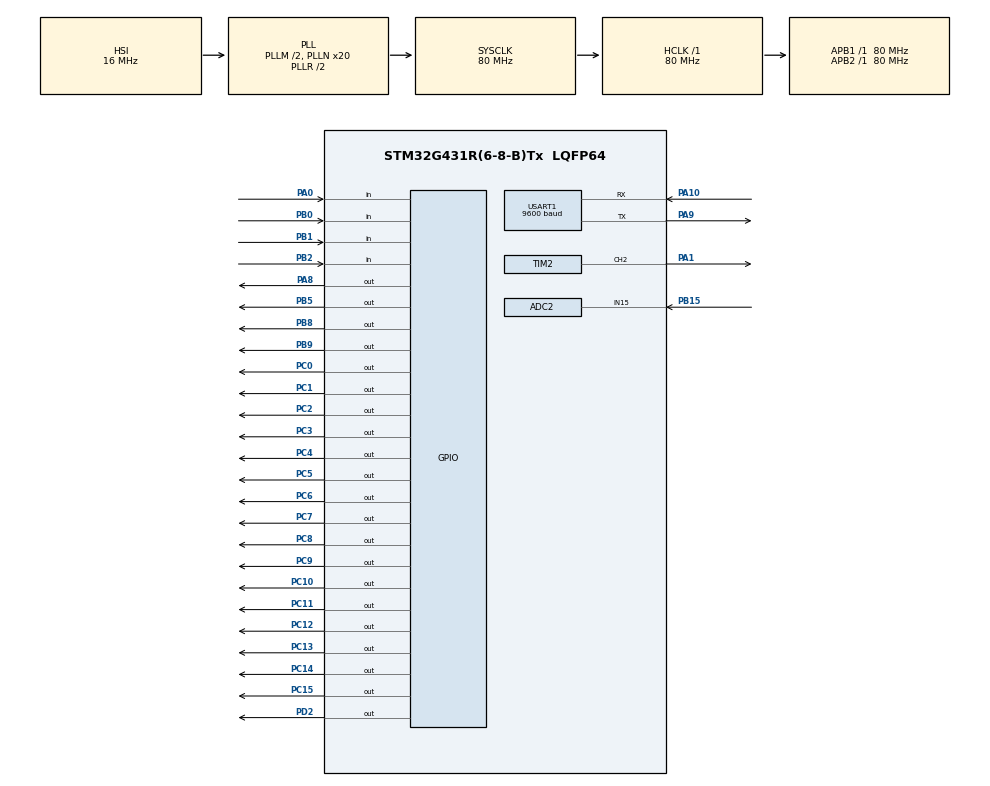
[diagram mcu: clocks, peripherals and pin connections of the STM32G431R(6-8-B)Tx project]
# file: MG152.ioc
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ADC2.Channel-0\#ChannelRegularConversion=ADC_CHANNEL_15
ADC2.NbrOfConversionFlag=1
ADC2.OffsetNumber-0\#ChannelRegularConversion=ADC_OFFSET_NONE
ADC2.Rank-0\#ChannelRegularConversion=1
ADC2.SamplingTime-0\#ChannelRegularConversion=ADC_SAMPLETIME_640CYCLES_5
Mcu.Family=STM32G4
Mcu.Name=STM32G431R(6-8-B)Tx
Mcu.Package=LQFP64
NVIC.PriorityGroup=NVIC_PRIORITYGROUP_4
NVIC.TIM1_BRK_TIM15_IRQn=true\:0\:0\:false\:false\:true\:true\:true\:true
NVIC.USART1_IRQn=true\:0\:0\:false\:false\:true\:true\:true\:true
PA0.Signal=GPIO_Input
PA1.Signal=S_TIM2_CH2
PA10.Mode=Asynchronous
PA10.Signal=USART1_RX
PA8.Signal=GPIO_Output
PA9.Mode=Asynchronous
PA9.Signal=USART1_TX
PB0.Signal=GPIO_Input
PB1.Signal=GPIO_Input
PB15.Mode=IN15-Single-Ended
PB15.Signal=ADC2_IN15
PB2.Signal=GPIO_Input
PB5.Signal=GPIO_Output
PB8-BOOT0.Signal=GPIO_Output
PB9.Signal=GPIO_Output
PC0.Signal=GPIO_Output
PC1.Signal=GPIO_Output
PC10.Signal=GPIO_Output
PC11.Signal=GPIO_Output
PC12.Signal=GPIO_Output
PC13.Signal=GPIO_Output
PC14-OSC32_IN.Signal=GPIO_Output
PC15-OSC32_OUT.Signal=GPIO_Output
PC2.Signal=GPIO_Output
PC3.Signal=GPIO_Output
PC4.Signal=GPIO_Output
PC5.Signal=GPIO_Output
PC6.Signal=GPIO_Output
PC7.Signal=GPIO_Output
PC8.Signal=GPIO_Output
PC9.Signal=GPIO_Output
PD2.Signal=GPIO_Output
PF0-OSC_IN.Mode=HSE-External-Oscillator
PF0-OSC_IN.Signal=RCC_OSC_IN
PF1-OSC_OUT.Mode=HSE-External-Oscillator
PF1-OSC_OUT.Signal=RCC_OSC_OUT
ProjectManager.HeapSize=0x200
ProjectManager.StackSize=0x400
ProjectManager.TargetToolchain=MDK-ARM V5
RCC.ADC12Freq_Value=80000000
RCC.AHBFreq_Value=80000000
RCC.APB1Freq_Value=80000000
RCC.APB1TimFreq_Value=80000000
RCC.APB2Freq_Value=80000000
RCC.APB2TimFreq_Value=80000000
RCC.CortexFreq_Value=80000000
RCC.EXTERNAL_CLOCK_VALUE=12288000
RCC.HCLKFreq_Value=80000000
RCC.HSE_VALUE=24000000
RCC.HSI48_VALUE=48000000
RCC.HSI_VALUE=16000000
RCC.LSE_VALUE=32768
RCC.PLLM=RCC_PLLM_DIV2
RCC.PLLN=20
RCC.SYSCLKFreq_VALUE=80000000
RCC.SYSCLKSource=RCC_SYSCLKSOURCE_PLLCLK
RCC.USBFreq_Value=80000000
RCC.VCOOutputFreq_Value=160000000
SH.S_TIM2_CH2.0=TIM2_CH2,PWM Generation2 CH2
TIM15.AutoReloadPreload=TIM_AUTORELOAD_PRELOAD_ENABLE
TIM15.PeriodNoDither=999
TIM15.Prescaler=7999
TIM2.AutoReloadPreload=TIM_AUTORELOAD_PRELOAD_ENABLE
TIM2.Channel-PWM\ Generation2\ CH2=TIM_CHANNEL_2
TIM2.PeriodNoDither=999
TIM2.Prescaler=79
TIM2.PulseNoDither_2=350
USART1.BaudRate=9600
USART1.VirtualMode-Asynchronous=VM_ASYNC
VP_SYS_VS_DBSignals.Mode=DisableDeadBatterySignals
VP_TIM15_VS_ClockSourceINT.Mode=Internal
board=custom

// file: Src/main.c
/* USER CODE BEGIN Header */
/**
  ******************************************************************************
  * @file           : main.c
  * @brief          : Main program body
  ******************************************************************************
  * @attention
  *
  * <h2><center>&copy; Copyright (c) 2021 STMicroelectronics.
  * All rights reserved.</center></h2>
  *
  * This software component is licensed by ST under BSD 3-Clause license,
  * the "License"; You may not use this file except in compliance with the
  * License. You may obtain a copy of the License at:
  *                        opensource.org/licenses/BSD-3-Clause
  *
  ******************************************************************************
  */
/* USER CODE END Header */

#include "main.h"
#include "adc.h"
#include "tim.h"
#include "usart.h"
#include "gpio.h"

/* USER CODE BEGIN Includes */

#include "led.h"
#include "key.h"
#include "stdio.h"
#include "string.h"

/* USER CODE END Includes */

void SystemClock_Config(void);

/* USER CODE BEGIN 0 */

#define Display_DATA 0
#define Display_SLEEPING 1

u8 Display_Mode = 0;

//1
double TEMP = 23.5;

#define Auto 0
#define Manu 1
u8 MODE = 0;

u8 GEAR = 1;

//2

_Bool change_flag = 0; // 变为1切到界面2
u32 tim_cnt = 0;

//led4
u32 uart_cnt = 0;

//LED
u8 led_ctrl = 0;

void Led_Process(void)
{
	if(MODE == Auto)
		led_ctrl |=0x80;
	else
		led_ctrl &= ~0x80;

	if(GEAR == 1)
		led_ctrl |= 0x01;
	else
		led_ctrl &= ~0x01;

	if(GEAR == 2)
		led_ctrl |= 0x02;
	else
		led_ctrl &= ~0x02;

	if(GEAR == 3)
		led_ctrl |= 0x04;
	else
		led_ctrl &= ~0x04;

	Led_Control(led_ctrl);
}

//KEY
uint32_t keyTick = 0;
void Key_Process(void)
{
	if(uwTick - keyTick < 20) return;
	keyTick = uwTick;

	Key_Read();

	if(Trg & 0x01)
	{
		tim_cnt = 0;
		change_flag = 0;

		if(Display_Mode == Display_DATA)
			MODE = (MODE+1)%2;
		if(Display_Mode == Display_SLEEPING)
		{
			LCD_Clear(Black);
			Display_Mode = Display_DATA;
		}
	}

	if(Trg & 0x02)
	{
		tim_cnt = 0;
		change_flag = 0;
		if(Display_Mode == Display_DATA)
		{
			if(MODE == Manu)
			{
				GEAR++;
				if(GEAR == 4)
					GEAR = 3;
			}
		}

		if(Display_Mode == Display_SLEEPING)
		{
			LCD_Clear(Black);
			Display_Mode = Display_DATA;
		}
	}

	if(Trg & 0x04)
	{
		tim_cnt = 0;
		change_flag = 0;
		if(Display_Mode == Display_DATA)
		{
			if(MODE == Manu)
			{
				if(GEAR > 1)
					GEAR--;
			}
		}
		if(Display_Mode == Display_SLEEPING)
		{
			LCD_Clear(Black);
			Display_Mode = Display_DATA;
		}
	}

	if(Trg & 0x08)
	{
		Led_Control(0x08);
	}

}

//ADC
//ADC
u32 adc_val;
double r37_v;
void ADC_Process(void)
{
	HAL_ADC_Start(&hadc2);
	adc_val = HAL_ADC_GetValue(&hadc2);
	r37_v = adc_val/4095.0f * 3.3f;

	if(r37_v > 3)
		TEMP = 40;
	else if(r37_v < 1)
		TEMP = 20;
	else
		TEMP = 10*(r37_v - 1) + 20;

	if(MODE == Auto)
	{
		if(TEMP < 25)
			GEAR = 1;
		else if(TEMP > 30)
			GEAR = 3;
		else
			GEAR = 2;
	}
}

//PWM
void PWM_Process(void)
{
	TIM2->ARR = 499;
	if(GEAR == 1)
		TIM2->CCR1 = (TIM2->ARR + 1)*0.1;
	if(GEAR == 2)
		TIM2->CCR1 = (TIM2->ARR + 1)*0.4;
	if(GEAR == 3)
		TIM2->CCR1 = (TIM2->ARR + 1)*0.8;

}

//串口
//发

int fputc(int ch, FILE *f)
{
  /* Your implementation of fputc(). */
	HAL_UART_Transmit(&huart1,(u8 *)&ch,1,50);
  return ch;
}

//收
u8 uart_buf[2];
u8 rx_buf[100];
u8 rx_cnt = 0;

uint32_t uartTick = 0;
void Rx_Idle(void)
{
	if(uwTick - uartTick < 50) return;
	uartTick = uwTick;

	if(rx_cnt > 0)
	{
		if(rx_cnt != 2)
			printf("NULL\r\n");
		rx_cnt = 0;
		memset(rx_buf,'\0',sizeof(rx_buf));
	}
}

void HAL_UART_RxCpltCallback(UART_HandleTypeDef *huart)
{
	uartTick = uwTick;
	HAL_UART_Receive_IT(&huart1,uart_buf,1);

	rx_buf[rx_cnt++] = uart_buf[0];

	if(rx_cnt == 2)
	{
		if(rx_buf[0] == 'B'&& (rx_buf[1] == '1' ||rx_buf[1] == '2' || rx_buf[1] == '3'))
		{
			led_ctrl |= 0x08;
			uart_cnt = 0;

			if(rx_buf[1] == '1')
			{
					tim_cnt = 0;
					change_flag = 0;

					if(Display_Mode == Display_DATA)
					MODE = (MODE+1)%2;
					if(Display_Mode == Display_SLEEPING)
					{
					LCD_Clear(Black);
					Display_Mode = Display_DATA;
					}
			}

			if(rx_buf[1] == '2')
			{
				tim_cnt = 0;
				change_flag = 0;
				if(Display_Mode == Display_DATA)
				{
				if(MODE == Manu)
				{
				GEAR++;
				if(GEAR == 4)
				GEAR = 3;
				}
				}

				if(Display_Mode == Display_SLEEPING)
				{
				LCD_Clear(Black);
				Display_Mode = Display_DATA;
				}

			}

			if(rx_buf[1] == '3')
			{
				tim_cnt = 0;
				change_flag = 0;
				if(Display_Mode == Display_DATA)
				{
					if(MODE == Manu)
					{
						if(GEAR > 1)
							GEAR--;
					}
				}
				if(Display_Mode == Display_SLEEPING)
				{
					LCD_Clear(Black);
					Display_Mode = Display_DATA;
				}
			}

		}
		else
			printf("NULL\r\n");
	}

}

//LCD
uint32_t lcdTick = 0;
void LCD_Process(void)
{
	if(uwTick - lcdTick < 100) return;
	lcdTick = uwTick;

	u8 display_buf[30];

	if(Display_Mode == Display_DATA)
	{
		sprintf((char*)display_buf,"        DATA");
		LCD_DisplayStringLine(Line1,display_buf);

		sprintf((char*)display_buf,"     TEMP:%.1f    ",TEMP);
		LCD_DisplayStringLine(Line3,display_buf);

		if(MODE == Auto)
			sprintf((char*)display_buf,"     MODE:Atuo");
		if(MODE == Manu)
			sprintf((char*)display_buf,"     MODE:Manu");
		LCD_DisplayStringLine(Line4,display_buf);

	  sprintf((char*)display_buf,"     GEAR:%d ",GEAR);
		LCD_DisplayStringLine(Line5,display_buf);

	}

	if(Display_Mode == Display_SLEEPING)
	{
		sprintf((char*)display_buf,"     SLEEPING");
		LCD_DisplayStringLine(Line4,display_buf);

		sprintf((char*)display_buf,"     TEMP:%.1f  ",TEMP);
		LCD_DisplayStringLine(Line5,display_buf);
	}

}

//TIM  100ms

void HAL_TIM_PeriodElapsedCallback(TIM_HandleTypeDef *htim)
{
  if(htim == &htim15)
	{
		if(change_flag == 0)
		{
			tim_cnt++;
			if(tim_cnt >= 50) //5s
			{
				tim_cnt = 0;
				change_flag = 1;
				LCD_Clear(Black);
				Display_Mode = Display_SLEEPING;
			}

			if(led_ctrl & 0x08)
			{
				uart_cnt++;
				if(uart_cnt >= 30) //3s
				{
					led_ctrl &= ~0x08;
					uart_cnt = 0;
				}
			}
		}

	}
}

/* USER CODE END 0 */

int main(void)
{

  /* MCU Configuration--------------------------------------------------------*/

  /* Reset of all peripherals, Initializes the Flash interface and the Systick. */
  HAL_Init();

  /* Configure the system clock */
  SystemClock_Config();

  /* Initialize all configured peripherals */
  MX_GPIO_Init();
  MX_ADC2_Init();
  MX_TIM2_Init();
  MX_TIM15_Init();
  MX_USART1_UART_Init();
  /* USER CODE BEGIN 2 */

    LCD_Init();

		//TIM15
		HAL_TIM_Base_Start_IT(&htim15);

		//PWM
		HAL_TIM_PWM_Start(&htim2,TIM_CHANNEL_2);

		//uart

		HAL_UART_Receive_IT(&huart1,uart_buf,1);

  /* USER CODE END 2 */

  /* Infinite loop */
  /* USER CODE BEGIN WHILE */

    LCD_Clear(Black);
    LCD_SetBackColor(Black);
    LCD_SetTextColor(White);

//    LCD_DrawLine(120, 0, 320, Horizontal);
//    LCD_DrawLine(0, 160, 240, Vertical);
//    HAL_Delay(1000);
//    LCD_Clear(Blue);

//    LCD_DrawRect(70, 210, 100, 100);
//    HAL_Delay(1000);
//    LCD_Clear(Blue);

//    LCD_DrawCircle(120, 160, 50);
//    HAL_Delay(1000);

//    LCD_Clear(Blue);
//    LCD_DisplayStringLine(Line4, (unsigned char *)"    Hello,world.   ");
//    HAL_Delay(1000);

//    LCD_SetBackColor(White);
//    LCD_DisplayStringLine(Line0, (unsigned char *)"                    ");
//    LCD_SetBackColor(Black);
//    LCD_DisplayStringLine(Line1, (unsigned char *)"                    ");
//    LCD_SetBackColor(Grey);
//    LCD_DisplayStringLine(Line2, (unsigned char *)"                    ");
//    LCD_SetBackColor(Blue);
//    LCD_DisplayStringLine(Line3, (unsigned char *)"                    ");
//    LCD_SetBackColor(Blue2);
//    LCD_DisplayStringLine(Line4, (unsigned char *)"                    ");
//    LCD_SetBackColor(Red);
//    LCD_DisplayStringLine(Line5, (unsigned char *)"                    ");
//    LCD_SetBackColor(Magenta);
//    LCD_DisplayStringLine(Line6, (unsigned char *)"                    ");
//    LCD_SetBackColor(Green);
//    LCD_DisplayStringLine(Line7, (unsigned char *)"                    ");
//    LCD_SetBackColor(Cyan);
//    LCD_DisplayStringLine(Line8, (unsigned char *)"                    ");
//    LCD_SetBackColor(Yellow);
//    LCD_DisplayStringLine(Line9, (unsigned char *)"                    ");

		Led_Control(0x00);
    while (1)
    {
    /* USER CODE END WHILE */

    /* USER CODE BEGIN 3 */
		Led_Process();
		Key_Process();

		ADC_Process();
		Rx_Idle();
		LCD_Process();
		PWM_Process();

    }
  /* USER CODE END 3 */
}

void SystemClock_Config(void)
{
  RCC_OscInitTypeDef RCC_OscInitStruct = {0};
  RCC_ClkInitTypeDef RCC_ClkInitStruct = {0};
  RCC_PeriphCLKInitTypeDef PeriphClkInit = {0};

  /** Configure the main internal regulator output voltage
  */
  HAL_PWREx_ControlVoltageScaling(PWR_REGULATOR_VOLTAGE_SCALE1);
  /** Initializes the CPU, AHB and APB busses clocks
  */
  RCC_OscInitStruct.OscillatorType = RCC_OSCILLATORTYPE_HSI;
  RCC_OscInitStruct.HSIState = RCC_HSI_ON;
  RCC_OscInitStruct.HSICalibrationValue = RCC_HSICALIBRATION_DEFAULT;
  RCC_OscInitStruct.PLL.PLLState = RCC_PLL_ON;
  RCC_OscInitStruct.PLL.PLLSource = RCC_PLLSOURCE_HSI;
  RCC_OscInitStruct.PLL.PLLM = RCC_PLLM_DIV2;
  RCC_OscInitStruct.PLL.PLLN = 20;
  RCC_OscInitStruct.PLL.PLLP = RCC_PLLP_DIV2;
  RCC_OscInitStruct.PLL.PLLQ = RCC_PLLQ_DIV2;
  RCC_OscInitStruct.PLL.PLLR = RCC_PLLR_DIV2;
  if (HAL_RCC_OscConfig(&RCC_OscInitStruct) != HAL_OK)
  {
    Error_Handler();
  }
  /** Initializes the CPU, AHB and APB busses clocks
  */
  RCC_ClkInitStruct.ClockType = RCC_CLOCKTYPE_HCLK|RCC_CLOCKTYPE_SYSCLK
                              |RCC_CLOCKTYPE_PCLK1|RCC_CLOCKTYPE_PCLK2;
  RCC_ClkInitStruct.SYSCLKSource = RCC_SYSCLKSOURCE_PLLCLK;
  RCC_ClkInitStruct.AHBCLKDivider = RCC_SYSCLK_DIV1;
  RCC_ClkInitStruct.APB1CLKDivider = RCC_HCLK_DIV1;
  RCC_ClkInitStruct.APB2CLKDivider = RCC_HCLK_DIV1;

  if (HAL_RCC_ClockConfig(&RCC_ClkInitStruct, FLASH_LATENCY_3) != HAL_OK)
  {
    Error_Handler();
  }
  /** Initializes the peripherals clocks
  */
  PeriphClkInit.PeriphClockSelection = RCC_PERIPHCLK_USART1|RCC_PERIPHCLK_ADC12;
  PeriphClkInit.Usart1ClockSelection = RCC_USART1CLKSOURCE_PCLK2;
  PeriphClkInit.Adc12ClockSelection = RCC_ADC12CLKSOURCE_SYSCLK;
  if (HAL_RCCEx_PeriphCLKConfig(&PeriphClkInit) != HAL_OK)
  {
    Error_Handler();
  }
}

void Error_Handler(void)
{
}

/************************ (C) COPYRIGHT STMicroelectronics *****END OF FILE****/
